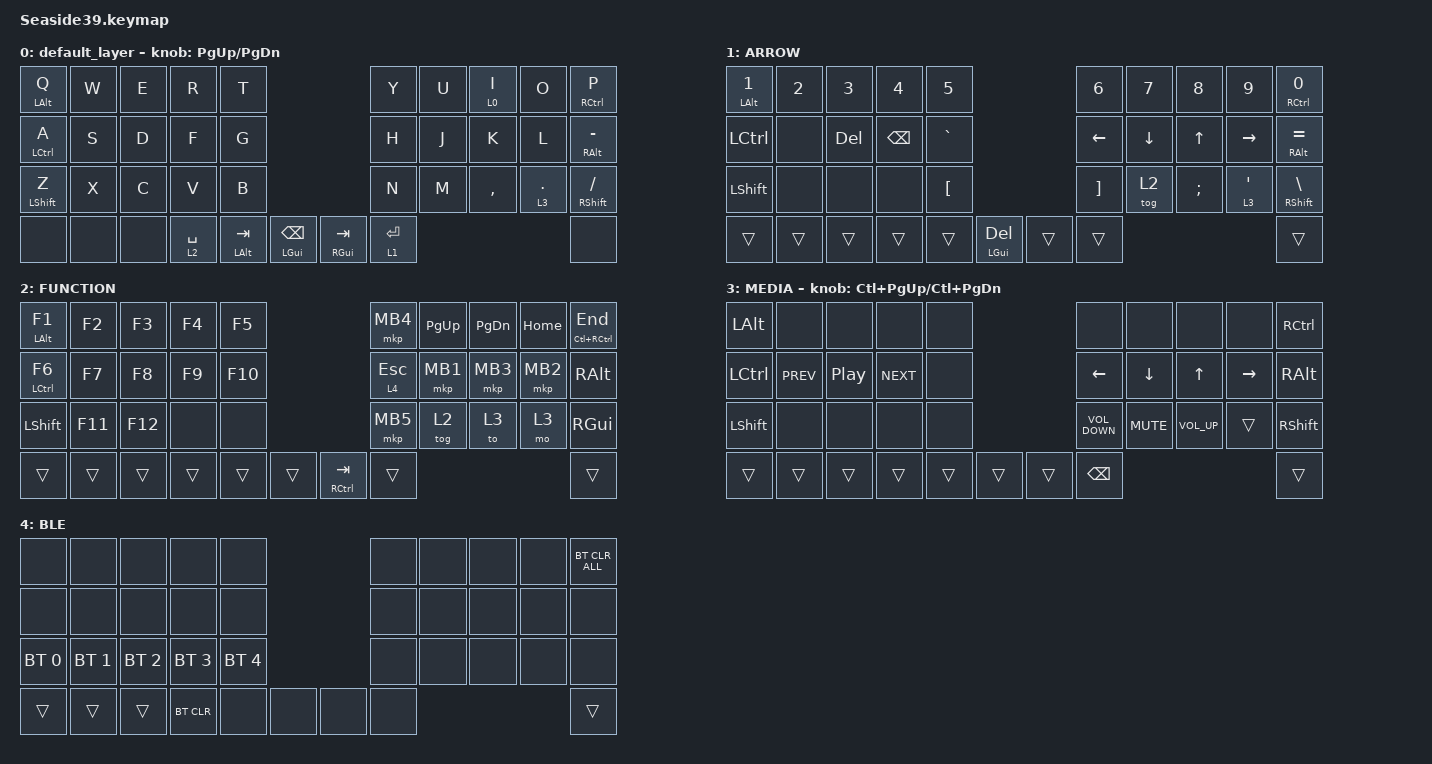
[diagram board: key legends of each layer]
#include <behaviors.dtsi>
#include <dt-bindings/zmk/bt.h>
#include <dt-bindings/zmk/keys.h>
#include <dt-bindings/zmk/pointing.h>

#define MOUSE 4
#define SCROLL 5
#define NUM 6

&mt {
    flavor = "balanced";
    quick-tap-ms = <300>;
};

&lt {
    flavor = "balanced";
    quick-tap-ms = <300>;
};

/ {
    combos { compatible = "zmk,combos"; };

    macros {
        to_layer_0: to_layer_0 {
            compatible = "zmk,behavior-macro-one-param";
            #binding-cells = <1>;
            bindings = <&to 0 &macro_param_1to1 &kp MACRO_PLACEHOLDER>;
            label = "TO_LAYER_0";
        };
    };

    behaviors {
        lt_to_layer_0: lt_to_layer_0 {
            compatible = "zmk,behavior-hold-tap";
            label = "LAYER_TAP_TO_0";
            bindings = <&mo>, <&to_layer_0>;

            #binding-cells = <2>;
            tapping-term-ms = <200>;
        };
    };

    keymap {
        compatible = "zmk,keymap";

        default_layer {
            bindings = <
&mt LEFT_ALT Q      &kp W  &kp E  &kp R        &kp T                                                            &kp Y        &kp U  &lt 0 I    &kp O         &mt RIGHT_CONTROL P
&mt LEFT_CONTROL A  &kp S  &kp D  &kp F        &kp G                                                            &kp H        &kp J  &kp K      &kp L         &mt RIGHT_ALT MINUS
&mt LEFT_SHIFT Z    &kp X  &kp C  &kp V        &kp B                                                            &kp N        &kp M  &kp COMMA  &lt 3 PERIOD  &mt RIGHT_SHIFT SLASH
&none               &none  &none  &lt 2 SPACE  &mt LEFT_ALT TAB  &mt LEFT_GUI BACKSPACE      &mt RIGHT_GUI TAB  &lt 1 ENTER                                  &none
            >;

            sensor-bindings = <&inc_dec_kp PG_UP PAGE_DOWN>;
        };

        ARROW {
            bindings = <
&mt LEFT_ALT NUMBER_1  &kp NUMBER_2  &kp NUMBER_3  &kp NUMBER_4   &kp NUMBER_5                                       &kp NUMBER_6       &kp NUMBER_7  &kp NUMBER_8  &kp NUMBER_9        &mt RIGHT_CONTROL NUMBER_0
&kp LEFT_CONTROL       &none         &kp DELETE    &kp BACKSPACE  &kp GRAVE                                          &kp LEFT_ARROW     &kp DOWN      &kp UP_ARROW  &kp RIGHT           &mt RIGHT_ALT EQUAL
&kp LEFT_SHIFT         &none         &none         &none          &kp LEFT_BRACKET                                   &kp RIGHT_BRACKET  &tog 2        &kp SEMI      &lt 3 SINGLE_QUOTE  &mt RIGHT_SHIFT BACKSLASH
&trans                 &trans        &trans        &trans         &trans            &mt LEFT_GUI DELETE      &trans  &trans                                                             &trans
            >;
        };

        FUNCTION {
            bindings = <
&mt LEFT_ALT F1      &kp F2   &kp F3   &kp F4  &kp F5                                      &mkp MB4      &kp PG_UP  &kp PG_DN  &kp HOME  &mt LC(RIGHT_CONTROL) END
&mt LEFT_CONTROL F6  &kp F7   &kp F8   &kp F9  &kp F10                                     &lt 4 ESCAPE  &mkp MB1   &mkp MB3   &mkp MB2  &kp RIGHT_ALT
&kp LEFT_SHIFT       &kp F11  &kp F12  &none   &none                                       &mkp MB5      &tog 2     &to 3      &mo 3     &kp RIGHT_GUI
&trans               &trans   &trans   &trans  &trans   &trans      &mt RIGHT_CONTROL TAB  &trans                                        &trans
            >;
        };

        MEDIA {
            bindings = <
&kp LEFT_ALT      &none       &none     &none       &none                       &none              &none           &none            &none            &kp RIGHT_CONTROL
&kp LEFT_CONTROL  &kp C_PREV  &kp C_PP  &kp C_NEXT  &none                       &kp LEFT_ARROW     &kp DOWN_ARROW  &kp UP_ARROW     &kp RIGHT_ARROW  &kp RIGHT_ALT
&kp LEFT_SHIFT    &none       &none     &none       &none                       &kp C_VOLUME_DOWN  &kp K_MUTE      &kp C_VOLUME_UP  &trans           &kp RIGHT_SHIFT
&trans            &trans      &trans    &trans      &trans  &trans      &trans  &kp BACKSPACE                                                        &trans
            >;

            sensor-bindings = <&inc_dec_kp LC(PAGE_UP) LC(PAGE_DOWN)>;
        };

        BLE {
            bindings = <
&none         &none         &none         &none         &none                           &none  &none  &none  &none  &bt BT_CLR_ALL
&none         &none         &none         &none         &none                           &none  &none  &none  &none  &none
&bt BT_SEL 0  &bt BT_SEL 1  &bt BT_SEL 2  &bt BT_SEL 3  &bt BT_SEL 4                    &none  &none  &none  &none  &none
&trans        &trans        &trans        &bt BT_CLR    &none         &none      &none  &none                       &trans
            >;
        };
    };
};
